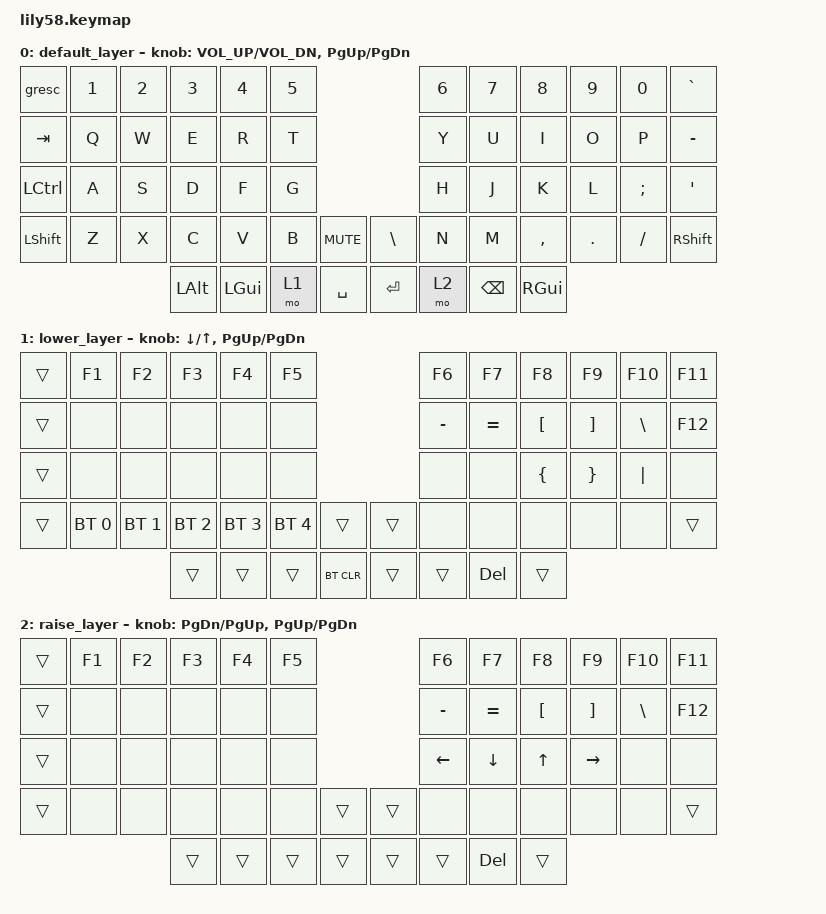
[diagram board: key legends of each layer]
/*
 * Copyright (c) 2020 The ZMK Contributors
 *
 * SPDX-License-Identifier: MIT
 */

#include <behaviors.dtsi>
#include <dt-bindings/zmk/keys.h>
#include <dt-bindings/zmk/bt.h>
#include <dt-bindings/zmk/ext_power.h>

/ {

//  behaviors {
//      lthome: left_home {
//          compatible = "zmk,behavior-mod-morph";
//          label = "LEFT_HOME";
//          #binding-cells = <0>;
//          bindings = <&kp LEFT>, <&kp HOME>;
//          mods = <(MOD_LGUI|MOD_RGUI)>;
//      };
//
//      rtend: right_end {
//          compatible = "zmk,behavior-mod-morph";
//          label = "RIGHT_END";
//          #binding-cells = <0>;
//          bindings = <&kp RIGHT>, <&kp END>;
//          mods = <(MOD_LGUI|MOD_RGUI)>;
//      };
//
//      uppg: up_pageup {
//          compatible = "zmk,behavior-mod-morph";
//          label = "UP_PGUP";
//          #binding-cells = <0>;
//          bindings = <&kp UP>, <&kp PGUP>;
//          mods = <(MOD_LGUI|MOD_LSFT|MOD_RGUI|MOD_RSFT)>;
//      };
//
//      dnpg: down_pagedown {
//          compatible = "zmk,behavior-mod-morph";
//          label = "DOWN_PGDOWN";
//          #binding-cells = <0>;
//          bindings = <&kp DOWN>, <&kp PGDN>;
//          mods = <(MOD_LGUI|MOD_LSFT|MOD_RGUI|MOD_RSFT)>;
//      };
//  };

	keymap {
		compatible = "zmk,keymap";

		default_layer {
// ------------------------------------------------------------------------------------------------------------
// |  ESC/` |  1  |  2  |  3   |  4   |  5   |                   |  6   |  7    |  8    |  9   |   0   |   `   |
// |  TAB   |  Q  |  W  |  E   |  R   |  T   |                   |  Y   |  U    |  I    |  O   |   P   |   -   |
// |  CTRL  |  A  |  S  |  D   |  F   |  G   |                   |  H   |  J    |  K    |  L   |   ;   |   '   |
// | SHIFT  |  Z  |  X  |  C   |  V   |  B   |  MUTE  |  | \     |  N   |  M    |  ,    |  .   |   /   | SHIFT |
//                      | ALT  | GUI  | LOWER|  SPACE |  | ENTER | RAISE| BSPC  | GUI   |
			bindings = <
&gresc    &kp N1 &kp N2 &kp N3   &kp N4   &kp N5                     &kp N6 &kp N7   &kp N8    &kp N9  &kp N0   &kp GRAVE
&kp TAB   &kp Q  &kp W  &kp E    &kp R    &kp T                      &kp Y  &kp U    &kp I     &kp O   &kp P    &kp MINUS
&kp LCTRL &kp A  &kp S  &kp D    &kp F    &kp G                      &kp H  &kp J    &kp K     &kp L   &kp SEMI &kp SQT
&kp LSHFT &kp Z  &kp X  &kp C    &kp V    &kp B  &kp C_MUTE &kp BSLH &kp N  &kp M    &kp COMMA &kp DOT &kp FSLH &kp RSHFT
                        &kp LALT &kp LGUI &mo 1  &kp SPACE  &kp RET  &mo 2  &kp BSPC &kp RGUI
			>;

			sensor-bindings = <&inc_dec_kp C_VOL_UP C_VOL_DN &inc_dec_kp PG_UP PG_DN>;
		};

		lower_layer {
// ------------------------------------------------------------------------------------------------------------
// |       |  F1 |  F2 |  F3  |  F4  |  F5  |                   |  F6  |  F7   | F8    |  F9  |  F10  |  F11  |
// |       |     |     |      |      |      |                   |  -   |  =    |  [    |  ]   |   \   |  F12  |
// |       |     |     |      |      |      |                   |      |       |  {    |  }   |  "|"  |       |
// |       | BT1 | BT2 |  BT3 |  BT4 |  BT5 |        |  |       |      |       |       |      |       |       |
//                     |      |      |      |  BTCLR |  |       |      |  DEL  |       |
			bindings = <
&trans  &kp F1        &kp F2        &kp F3        &kp F4        &kp F5                            &kp F6     &kp F7     &kp F8    &kp F9    &kp F10   &kp F11
&trans  &none         &none         &none         &none         &none                             &kp MINUS  &kp EQUAL  &kp LBKT  &kp RBKT  &kp BSLH  &kp F12
&trans  &none         &none         &none         &none         &none                             &none      &none      &kp LBRC  &kp RBRC  &kp PIPE  &none
&trans  &bt BT_SEL 0  &bt BT_SEL 1  &bt BT_SEL 2  &bt BT_SEL 3  &bt BT_SEL 4  &trans      &trans  &none      &none      &none     &none     &none     &trans
                                    &trans        &trans        &trans        &bt BT_CLR  &trans  &trans     &kp DEL    &trans

			>;

			sensor-bindings = <&inc_dec_kp DOWN UP &inc_dec_kp PG_UP PG_DN>;
		};

		raise_layer {
// ------------------------------------------------------------------------------------------------------------
// |       |  F1 |  F2 |  F3  |  F4  |  F5  |                   |  F6  |  F7   | F8    |  F9  |  F10  |  F11  |
// |       |     |     |      |      |      |                   |  -   |  =    |  [    |  ]   |   \   |  F12  |
// |       |     |     |      |      |      |                   |   <- |   v   |  ^    |  ->  |       |       |
// |       |     |     |      |      |      |        |  |       |      |       |       |      |       |       |
//                     |      |      |      |        |  |       |      |   DEL |       |
			bindings = <
&trans  &kp F1  &kp F2  &kp F3  &kp F4  &kp F5                    &kp F6     &kp F7     &kp F8    &kp F9    &kp F10   &kp F11
&trans  &none   &none   &none   &none   &none                     &kp MINUS  &kp EQUAL  &kp LBKT  &kp RBKT  &kp BSLH  &kp F12
&trans  &none   &none   &none   &none   &none                     &kp LEFT   &kp DOWN   &kp UP    &kp RIGHT &none     &none
&trans  &none   &none   &none   &none   &none   &trans   &trans   &none      &none      &none     &none     &none     &trans
                        &trans  &trans  &trans  &trans   &trans   &trans     &kp DEL    &trans
			>;

			sensor-bindings = <&inc_dec_kp PG_DN PG_UP &inc_dec_kp PG_UP PG_DN>;
		};
	};
};
